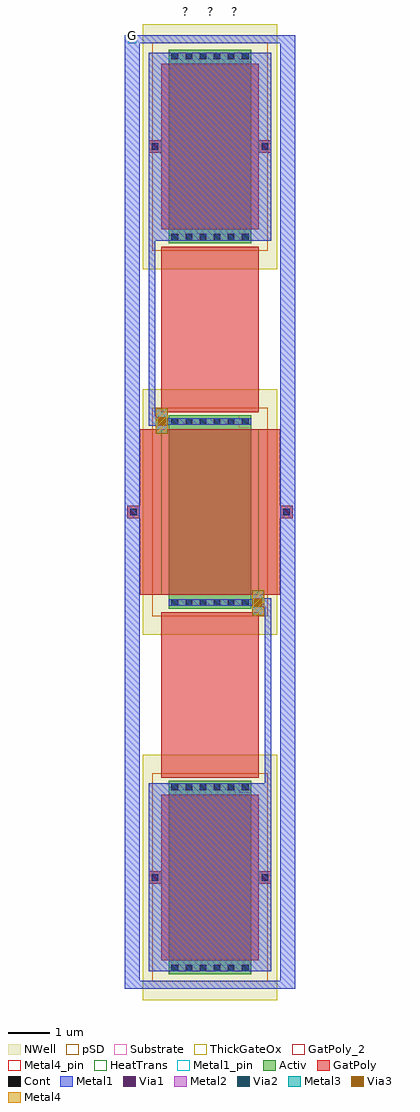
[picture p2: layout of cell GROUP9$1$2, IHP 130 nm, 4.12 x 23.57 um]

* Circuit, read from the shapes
.subckt GROUP9$1$2 G
XM1 pmosHV_priv5$1$2_1/D pmosHV_priv5$1$2_1/D pmosHV_priv5$1$2_1/D n1 sg13_hv_pmos w=2u l=4u
XM2 pmosHV_priv5$1$2_1/S G pmosHV_priv5$1$2_1/D n2 sg13_hv_pmos w=2u l=4u
XM3 pmosHV_priv5$1$2_1/S pmosHV_priv5$1$2_1/S pmosHV_priv5$1$2_1/S n3 sg13_hv_pmos w=2u l=4u
.ends

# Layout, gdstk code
from math import pi, radians
import gdstk
lib = gdstk.Library(unit=1e-6, precision=1e-09)
def R(c, l, rs):  # rectangles x0, y0, x1, y1
    for r in rs: c.add(gdstk.rectangle(r[:2], r[2:], *l))
def A(c, l, x, y, w, h, nx, ny, dx, dy):  # array of equal rectangles
    R(c, l, [(x+i*dx, y+j*dy, x+i*dx+w, y+j*dy+h) for i in range(nx) for j in range(ny)])
Activ = (1, 0)
GatPoly = (5, 0)
GatPoly_2 = (5, 2)
Cont = (6, 0)
Metal1 = (8, 0)
Metal1_pin = (8, 2)
Metal2 = (10, 0)
pSD = (14, 0)
Via1 = (19, 0)
Via2 = (29, 0)
Metal3 = (30, 0)
NWell = (31, 0)
Substrate = (40, 0)
ThickGateOx = (44, 0)
Via3 = (49, 0)
Metal4 = (50, 0)
Metal4_pin = (50, 2)
HeatTrans = (51, 0)

pmoshv_priv6_1_2 = lib.new_cell('pmosHV_priv6$1$2')
R(pmoshv_priv6_1_2, Activ, [(0,0,0.3,0.3), (0,0,4.68,2), (4.38,0,4.68,0.3)])
R(pmoshv_priv6_1_2, GatPoly, [(2.19,-0.48,2.49,-0.18), (0.34,-0.18,4.34,2.18), (2.19,2.18,2.49,2.48)])
R(pmoshv_priv6_1_2, GatPoly_2, [(0.34,-0.18,4.34,2.18)])
A(pmoshv_priv6_1_2, Cont, 0.07, 0.07, 0.16, 0.16, 1, 6, 0, 0.34)
A(pmoshv_priv6_1_2, Cont, 4.45, 0.07, 0.16, 0.16, 1, 6, 0, 0.34)
R(pmoshv_priv6_1_2, Cont, [(2.26,-0.41,2.42,-0.25), (2.26,2.25,2.42,2.41)])
R(pmoshv_priv6_1_2, Metal1, [(0.07,-0.48,4.61,2.48), (0.07,0,0.23,2), (4.45,0,4.61,2)])
R(pmoshv_priv6_1_2, Metal1_pin, [(0.07,0,0.23,2), (4.45,0,4.61,2)])
R(pmoshv_priv6_1_2, pSD, [(-0.18,-0.4,4.86,2.4)])
R(pmoshv_priv6_1_2, NWell, [(-0.62,-0.62,5.3,2.62)])
R(pmoshv_priv6_1_2, Substrate, [(4.38,0,4.68,0.3)])
R(pmoshv_priv6_1_2, ThickGateOx, [(-0.62,-0.62,5.3,2.62)])
R(pmoshv_priv6_1_2, HeatTrans, [(0.34,-0.18,4.34,2.18)])
pmoshv_priv6_1_2.add(gdstk.Label('pmosHV', (2.34,1), layer=63, texttype=0))
pmoshv_priv6_1_2.add(gdstk.Label('pmos', (2.34,1), layer=51, texttype=0))

pmoshv_priv5_1_2 = lib.new_cell('pmosHV_priv5$1$2')
R(pmoshv_priv5_1_2, Activ, [(0,0,0.3,0.3), (0,0,4.68,2), (4.38,0,4.68,0.3)])
R(pmoshv_priv5_1_2, GatPoly, [(2.19,-1,2.49,-0.7), (0.34,-0.7,4.34,-0.18), (0.34,-0.18,4.34,2.18), (0.34,2.18,4.34,2.7), (2.19,2.7,2.49,3)])
R(pmoshv_priv5_1_2, GatPoly_2, [(0.34,-0.18,4.34,2.18)])
A(pmoshv_priv5_1_2, Cont, 0.07, 0.07, 0.16, 0.16, 1, 6, 0, 0.34)
A(pmoshv_priv5_1_2, Cont, 4.45, 0.07, 0.16, 0.16, 1, 6, 0, 0.34)
R(pmoshv_priv5_1_2, Cont, [(2.26,-0.93,2.42,-0.77), (2.26,2.77,2.42,2.93)])
R(pmoshv_priv5_1_2, Metal1, [(2.205,-1.06,2.475,-0.7), (0.045,-0.31,0.255,-0.02), (0.07,-0.035,0.23,0.015), (0.07,0,0.23,2), (4.45,0,4.61,2), (4.45,1.985,4.61,2.035), (4.425,2.02,4.635,2.31), (2.205,2.7,2.475,3.06)])
R(pmoshv_priv5_1_2, Metal1_pin, [(0.07,0,0.23,2), (4.45,0,4.61,2)])
R(pmoshv_priv5_1_2, Metal2, [(-0.15,-0.31,0.45,-0.02), (0.05,-0.31,0.25,-0.02), (4.23,2.02,4.83,2.31), (4.43,2.02,4.63,2.31)])
R(pmoshv_priv5_1_2, pSD, [(-0.18,-0.4,4.86,2.4)])
R(pmoshv_priv5_1_2, Via1, [(0.055,-0.26,0.245,-0.07), (4.435,2.07,4.625,2.26)])
R(pmoshv_priv5_1_2, Via2, [(0.055,-0.26,0.245,-0.07), (4.435,2.07,4.625,2.26)])
R(pmoshv_priv5_1_2, Metal3, [(-0.15,-0.31,0.45,-0.02), (0.05,-0.31,0.25,-0.02), (4.23,2.02,4.83,2.31), (4.43,2.02,4.63,2.31)])
R(pmoshv_priv5_1_2, NWell, [(-0.62,-0.62,5.3,2.62)])
R(pmoshv_priv5_1_2, Substrate, [(4.38,0,4.68,0.3)])
R(pmoshv_priv5_1_2, ThickGateOx, [(-0.62,-0.62,5.3,2.62)])
R(pmoshv_priv5_1_2, Via3, [(0.055,-0.26,0.245,-0.07), (4.435,2.07,4.625,2.26)])
R(pmoshv_priv5_1_2, Metal4, [(-0.15,-0.31,0.45,-0.02), (0.05,-0.31,0.25,-0.02), (4.23,2.02,4.83,2.31), (4.43,2.02,4.63,2.31)])
R(pmoshv_priv5_1_2, Metal4_pin, [(0.055,-0.26,0.245,-0.07), (4.435,2.07,4.625,2.26)])
R(pmoshv_priv5_1_2, HeatTrans, [(0.34,-0.18,4.34,2.18)])
pmoshv_priv5_1_2.add(gdstk.Label('pmosHV', (2.34,1), layer=63, texttype=0))
pmoshv_priv5_1_2.add(gdstk.Label('pmos', (2.34,1), layer=51, texttype=0))
pmoshv_priv5_1_2.add(gdstk.Label('S', (4.53,2.165), layer=50, texttype=0))
pmoshv_priv5_1_2.add(gdstk.Label('D', (0.15,-0.165), layer=50, texttype=0))

pmoshv_priv4_1_2 = lib.new_cell('pmosHV_priv4$1$2')
R(pmoshv_priv4_1_2, Activ, [(0,0,0.3,0.3), (0,0,4.68,2), (4.38,0,4.68,0.3)])
R(pmoshv_priv4_1_2, GatPoly, [(2.19,-0.48,2.49,-0.18), (0.34,-0.18,4.34,2.18), (2.19,2.18,2.49,2.48)])
R(pmoshv_priv4_1_2, GatPoly_2, [(0.34,-0.18,4.34,2.18)])
A(pmoshv_priv4_1_2, Cont, 0.07, 0.07, 0.16, 0.16, 1, 6, 0, 0.34)
A(pmoshv_priv4_1_2, Cont, 4.45, 0.07, 0.16, 0.16, 1, 6, 0, 0.34)
R(pmoshv_priv4_1_2, Cont, [(2.26,-0.41,2.42,-0.25), (2.26,2.25,2.42,2.41)])
R(pmoshv_priv4_1_2, Metal1, [(0.07,-0.48,4.61,2.48), (0.07,0,0.23,2), (4.45,0,4.61,2)])
R(pmoshv_priv4_1_2, Metal1_pin, [(0.07,0,0.23,2), (4.45,0,4.61,2)])
R(pmoshv_priv4_1_2, pSD, [(-0.18,-0.4,4.86,2.4)])
R(pmoshv_priv4_1_2, NWell, [(-0.62,-0.62,5.3,2.62)])
R(pmoshv_priv4_1_2, Substrate, [(4.38,0,4.68,0.3)])
R(pmoshv_priv4_1_2, ThickGateOx, [(-0.62,-0.62,5.3,2.62)])
R(pmoshv_priv4_1_2, HeatTrans, [(0.34,-0.18,4.34,2.18)])
pmoshv_priv4_1_2.add(gdstk.Label('pmosHV', (2.34,1), layer=63, texttype=0))
pmoshv_priv4_1_2.add(gdstk.Label('pmos', (2.34,1), layer=51, texttype=0))

group9_1_2 = lib.new_cell('GROUP9$1$2')
R(group9_1_2, GatPoly, [(42.4,-95.015,44.76,-91.015), (42.4,-86.19,44.76,-82.19)])
R(group9_1_2, Metal1, [(41.52,-100.115,41.88,-77.085), (41.52,-100.115,45.64,-99.915), (45.28,-100.115,45.64,-77.085), (44.9,-95.155,45.06,-90.685), (44.6,-90.895,44.9,-90.685), (42.1,-86.515,42.26,-82.045), (42.26,-86.515,42.56,-86.305), (41.52,-77.285,45.64,-77.085)])
R(group9_1_2, Metal1_pin, [(41.605,-77.285,41.795,-77.085)])
group9_1_2.add(gdstk.Reference(pmoshv_priv6_1_2, (44.58,-99.765), rotation=pi/2))
group9_1_2.add(gdstk.Reference(pmoshv_priv5_1_2, (44.58,-90.94), rotation=pi/2))
group9_1_2.add(gdstk.Reference(pmoshv_priv4_1_2, (44.58,-82.115), rotation=pi/2))
group9_1_2.add(gdstk.Label('G', (41.7,-77.085), layer=8, texttype=0))
group9_1_2.add(gdstk.Label('?', (42.98,-76.515), layer=1000, texttype=0))
group9_1_2.add(gdstk.Label('?', (43.58,-76.515), layer=1000, texttype=0))
group9_1_2.add(gdstk.Label('?', (44.18,-76.515), layer=1000, texttype=0))

lib.write_gds('GROUP9_1_2.gds')
